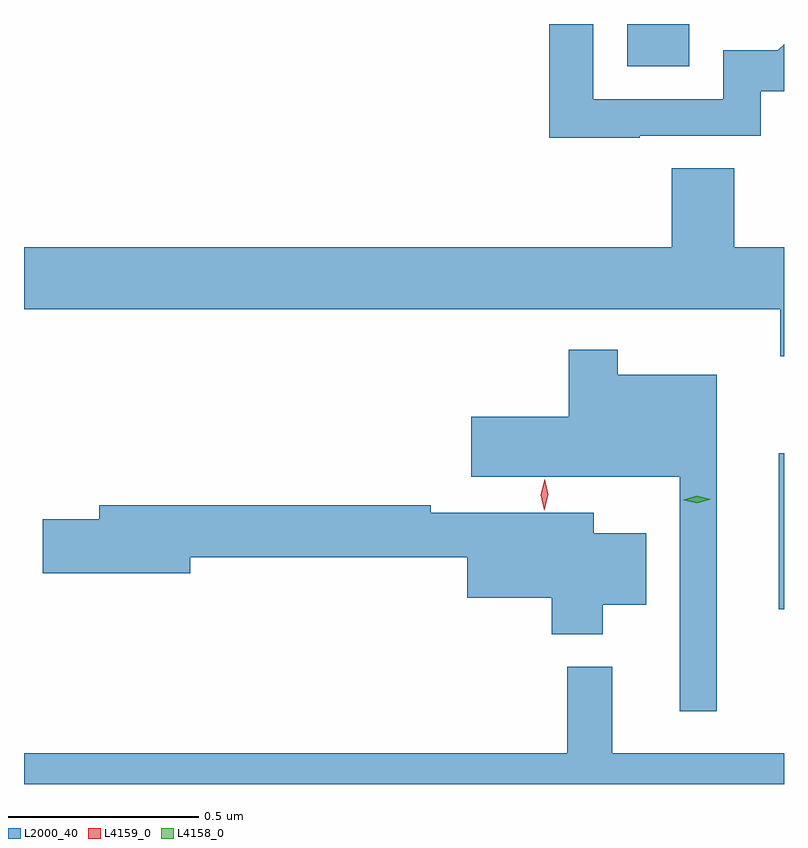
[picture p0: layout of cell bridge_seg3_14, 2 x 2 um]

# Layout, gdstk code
import gdstk
lib = gdstk.Library(unit=1e-6, precision=1e-09)
def R(c, l, rs):  # rectangles x0, y0, x1, y1
    for r in rs: c.add(gdstk.rectangle(r[:2], r[2:], *l))
def P(c, l, *ps):  # polygons
    for p in ps: c.add(gdstk.Polygon(p, *l))
L2000_40 = (2000, 40)
L4158_0 = (4158, 0)
L4159_0 = (4159, 0)

bridge_seg3_14 = lib.new_cell('bridge_seg3_14')
R(bridge_seg3_14, L2000_40, [(875.897,721.439,875.911,721.849), (875.498,722.868,875.662,722.979)])
P(bridge_seg3_14, L2000_40, [(875.531,722.685),(875.85,722.685),(875.85,722.802),(875.911,722.802),(875.911,722.926),(875.895,722.91),(875.751,722.91),(875.751,722.781),(875.409,722.781),(875.409,722.979),(875.293,722.979),(875.293,722.68),(875.531,722.68)],
  [(875.911,722.392),(875.78,722.392),(875.78,722.6),(875.615,722.6),(875.615,722.392),(873.911,722.392),(873.911,722.228),(875.901,722.228),(875.901,722.105),(875.911,722.105)],
  [(875.734,722.056),(875.473,722.056),(875.473,722.122),(875.344,722.122),(875.344,721.945),(875.088,721.945),(875.088,721.787),(875.637,721.787),(875.637,721.17),(875.734,721.17)],
  [(875.434,721.451),(875.548,721.451),(875.548,721.639),(875.41,721.639),(875.41,721.693),(874.982,721.693),(874.982,721.712),(874.109,721.712),(874.109,721.676),(873.96,721.676),(873.96,721.534),(874.348,721.534),(874.348,721.576),(875.078,721.576),(875.078,721.469),(875.3,721.469),(875.3,721.373),(875.434,721.373)],
  [(875.911,721.06),(875.459,721.06),(875.459,721.288),(875.341,721.288),(875.341,721.06),(873.911,721.06),(873.911,720.979),(875.911,720.979)])
P(bridge_seg3_14, L4158_0, [(875.683,721.718),(875.647,721.726),(875.647,721.726),(875.647,721.727),(875.682,721.738),(875.718,721.729),(875.718,721.729),(875.718,721.729)])
P(bridge_seg3_14, L4159_0, [(875.28,721.699),(875.28,721.699),(875.271,721.74),(875.282,721.781),(875.282,721.781),(875.282,721.781),(875.291,721.74),(875.28,721.699)])

lib.write_gds('bridge_seg3_14.gds')
